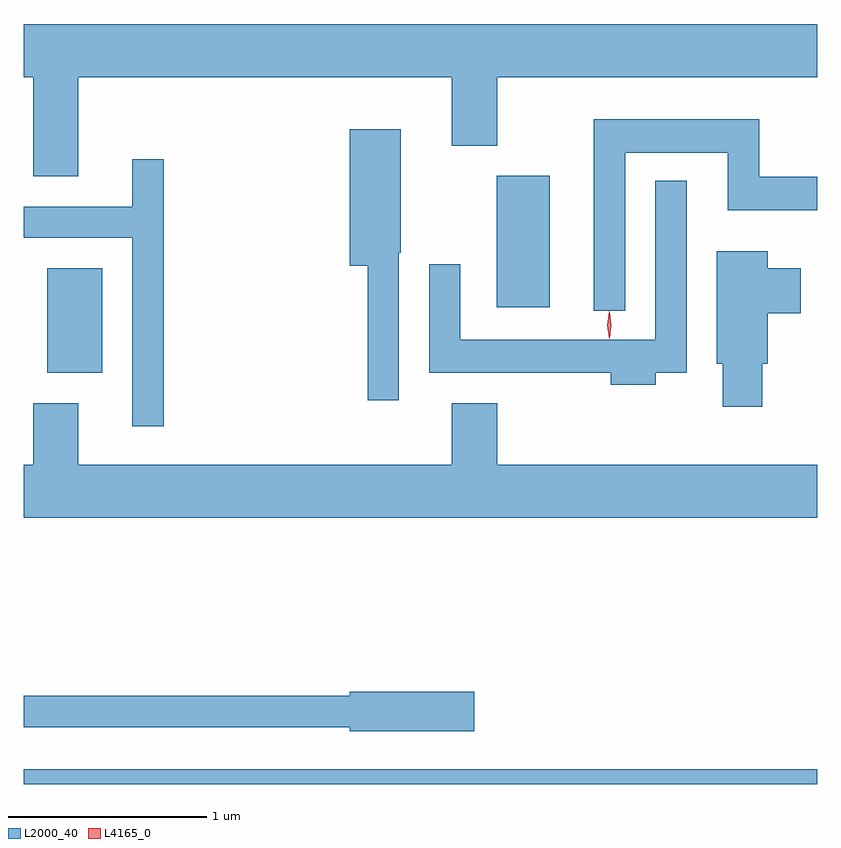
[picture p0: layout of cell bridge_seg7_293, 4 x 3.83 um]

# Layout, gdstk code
import gdstk
lib = gdstk.Library(unit=1e-6, precision=1e-09)
def R(c, l, rs):  # rectangles x0, y0, x1, y1
    for r in rs: c.add(gdstk.rectangle(r[:2], r[2:], *l))
def P(c, l, *ps):  # polygons
    for p in ps: c.add(gdstk.Polygon(p, *l))
L2000_40 = (2000, 40)
L4165_0 = (4165, 0)

bridge_seg7_293 = lib.new_cell('bridge_seg7_293')
R(bridge_seg7_293, L2000_40, [(1336.943,1781.794,1340.943,1781.869), (1337.061,1783.866,1337.339,1784.394), (1339.326,1784.196,1339.594,1784.859)])
P(bridge_seg7_293, L2000_40, [(1337.219,1785.356),(1339.101,1785.356),(1339.101,1785.011),(1339.329,1785.011),(1339.329,1785.356),(1340.943,1785.356),(1340.943,1785.624),(1336.943,1785.624),(1336.943,1785.356),(1336.991,1785.356),(1336.991,1784.856),(1337.219,1784.856)],
  [(1339.974,1784.976),(1340.491,1784.976),(1340.491,1784.686),(1340.943,1784.686),(1340.943,1784.854),(1340.649,1784.854),(1340.649,1785.144),(1339.816,1785.144),(1339.816,1784.178),(1339.974,1784.178)],
  [(1338.834,1784.47),(1338.844,1784.47),(1338.844,1785.094),(1338.586,1785.094),(1338.586,1784.406),(1338.676,1784.406),(1338.676,1783.728),(1338.834,1783.728)],
  [(1337.649,1784.943),(1337.491,1784.943),(1337.491,1784.704),(1336.943,1784.704),(1336.943,1784.546),(1337.491,1784.546),(1337.491,1783.598),(1337.649,1783.598)],
  [(1340.129,1783.866),(1340.284,1783.866),(1340.284,1784.833),(1340.126,1784.833),(1340.126,1784.034),(1339.144,1784.034),(1339.144,1784.413),(1338.986,1784.413),(1338.986,1783.866),(1339.901,1783.866),(1339.901,1783.806),(1340.129,1783.806)],
  [(1340.664,1783.911),(1340.694,1783.911),(1340.694,1784.166),(1340.859,1784.166),(1340.859,1784.394),(1340.694,1784.394),(1340.694,1784.479),(1340.436,1784.479),(1340.436,1783.911),(1340.466,1783.911),(1340.466,1783.696),(1340.664,1783.696)],
  [(1340.943,1783.404),(1339.329,1783.404),(1339.329,1783.714),(1339.101,1783.714),(1339.101,1783.404),(1337.219,1783.404),(1337.219,1783.714),(1336.991,1783.714),(1336.991,1783.404),(1336.943,1783.404),(1336.943,1783.136),(1340.943,1783.136)],
  [(1339.214,1782.259),(1338.586,1782.259),(1338.586,1782.239),(1336.943,1782.239),(1336.943,1782.081),(1338.586,1782.081),(1338.586,1782.061),(1339.214,1782.061)])
P(bridge_seg7_293, L4165_0, [(1339.895,1784.037),(1339.894,1784.038),(1339.885,1784.106),(1339.894,1784.176),(1339.895,1784.176),(1339.895,1784.176),(1339.905,1784.106),(1339.895,1784.038)],
  [(1339.895,1784.04),(1339.885,1784.106),(1339.894,1784.172),(1339.895,1784.173),(1339.896,1784.172),(1339.905,1784.106),(1339.896,1784.04),(1339.896,1784.04)])

lib.write_gds('bridge_seg7_293.gds')
